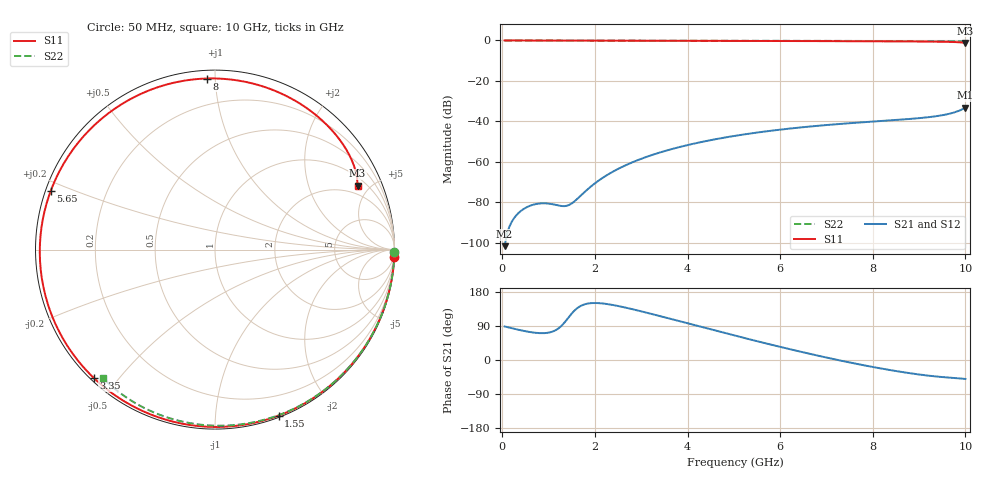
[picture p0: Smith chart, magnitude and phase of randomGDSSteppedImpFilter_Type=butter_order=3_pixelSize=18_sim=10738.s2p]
! freq	dB(S11)	phase(S11)	dB(S12)	phase(S12)
!  dB(S21)	phase(S21)	dB(S22)	phase(S22)
!S-par simulation data
#  GHz  S  DB  R 50
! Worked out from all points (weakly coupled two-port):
!   200 points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, 50 MHz to 10 GHz, reference 50 ohm
!   highest |S21| = -33.16 dB at 10 GHz (marker M1); lowest = -101.6 dB at 50 MHz (marker M2)
!   lowest |S11| = -1.2 dB at 10 GHz (marker M3), VSWR 14.42, Z = 71.9 + j211 ohm
!   |S11| at or under -10 dB: nowhere
!   |S22| runs from -0.4 to 0.0 dB; largest |S21 - S12| = 0
!   S11 on the Smith chart (normalised r, x): 50 MHz: 0, -49; 1.55 GHz: 0.01, -1.45; 3.35 GHz: 0.01, -0.43; 5.65 GHz: 0.01, +0.17; 8 GHz: 0.04, +0.95; 10 GHz: 1.44, +4.21
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0.05  -0.00 -2.4  -101.65 88.5  -101.65 88.5  -0.00 -0.8
0.35  -0.02 -16.3  -85.26 79.8  -85.26 79.8  -0.01 -5.3
0.7  -0.04 -32.4  -80.97 72.0  -80.97 72.0  -0.01 -10.5
1.15  -0.06 -52.2  -81.23 78.5  -81.23 78.5  -0.02 -17.3
1.55  -0.08 -69.0  -79.67 129.4  -79.67 129.4  -0.03 -23.2
1.75  -0.09 -77.1  -75.47 145.7  -75.47 145.7  -0.03 -26.1
2.05  -0.10 -88.7  -69.75 150.3  -69.75 150.3  -0.04 -30.5
2.4  -0.11 -101.6  -64.68 144.9  -64.68 144.9  -0.05 -35.6
2.85  -0.13 -117.2  -59.82 132.9  -59.82 132.9  -0.06 -42.0
3.35  -0.14 -133.5  -55.74 117.6  -55.74 117.6  -0.07 -49.1
3.4  -0.15 -135.0  -55.38 116.0  -55.38 116.0  -0.07 -49.8
4.2  -0.18 -159.1  -50.66 90.4  -50.66 90.4  -0.09 -60.7
5.05  -0.22 176.8  -47.03 63.5  -47.03 63.5  -0.11 -72.0
5.65  -0.25 160.2  -45.05 45.1  -45.05 45.1  -0.13 -79.8
6.7  -0.31 130.9  -42.40 14.6  -42.40 14.6  -0.18 -92.8
7.35  -0.35 112.2  -41.15 -2.7  -41.15 -2.7  -0.22 -100.7
8  -0.41 92.8  -40.08 -18.4  -40.08 -18.4  -0.26 -108.3
8.35  -0.44 82.1  -39.54 -26.1  -39.54 -26.1  -0.29 -112.4
8.8  -0.49 67.9  -38.78 -34.8  -38.78 -34.8  -0.32 -117.6
9.25  -0.57 53.2  -37.78 -42.0  -37.78 -42.0  -0.37 -122.7
9.7  -0.73 37.2  -35.95 -47.0  -35.95 -47.0  -0.41 -127.7
10  -1.21 24.1  -33.16 -50.1  -33.16 -50.1  -0.45 -131.1
